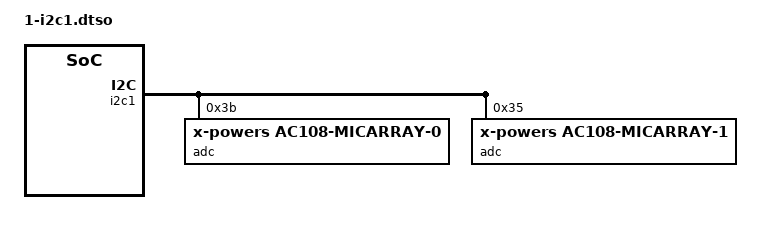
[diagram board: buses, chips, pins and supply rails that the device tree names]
// SPDX-License-Identifier: (GPL-2.0+ OR MIT)
/dts-v1/; /plugin/;
#include <dt-bindings/gpio/gpio.h>
#include <dt-bindings/pinctrl/rockchip.h>
#include <dt-bindings/interrupt-controller/irq.h>
&i2c1 { status = "okay";
  adc@3b { compatible = "x-powers,ac108-micarray-0"; reg = <0x3b>; #sound-dai-cells = <0>; };
  adc@35 { compatible = "x-powers,ac108-micarray-1"; reg = <0x35>; }; };
